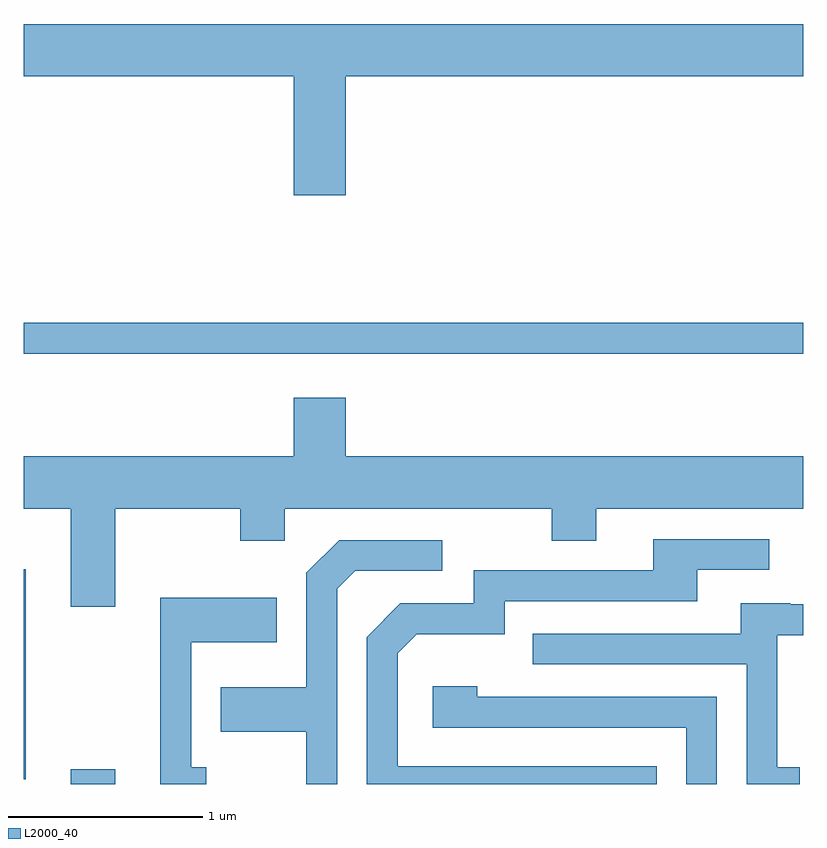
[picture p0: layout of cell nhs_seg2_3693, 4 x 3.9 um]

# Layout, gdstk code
import gdstk
lib = gdstk.Library(unit=1e-6, precision=1e-09)
def R(c, l, rs):  # rectangles x0, y0, x1, y1
    for r in rs: c.add(gdstk.rectangle(r[:2], r[2:], *l))
def P(c, l, *ps):  # polygons
    for p in ps: c.add(gdstk.Polygon(p, *l))
L2000_40 = (2000, 40)

nhs_seg2_3693 = lib.new_cell('nhs_seg2_3693')
R(nhs_seg2_3693, L2000_40, [(293.851,1035.802,294.079,1035.879), (293.611,1035.826,293.619,1036.904), (293.611,1038.011,297.611,1038.169)])
P(nhs_seg2_3693, L2000_40, [(295.264,1039.436),(297.611,1039.436),(297.611,1039.704),(293.611,1039.704),(293.611,1039.436),(294.996,1039.436),(294.996,1038.826),(295.264,1038.826)],
  [(294.079,1037.216),(294.721,1037.216),(294.721,1037.051),(294.949,1037.051),(294.949,1037.216),(296.321,1037.216),(296.321,1037.051),(296.549,1037.051),(296.549,1037.216),(297.611,1037.216),(297.611,1037.484),(295.264,1037.484),(295.264,1037.784),(294.996,1037.784),(294.996,1037.484),(293.611,1037.484),(293.611,1037.216),(293.851,1037.216),(293.851,1036.711),(294.079,1036.711)],
  [(296.859,1035.894),(295.529,1035.894),(295.529,1036.474),(295.627,1036.571),(296.079,1036.571),(296.079,1036.741),(297.069,1036.741),(297.069,1036.901),(297.438,1036.901),(297.438,1037.059),(296.841,1037.059),(296.841,1036.899),(295.921,1036.899),(295.921,1036.729),(295.544,1036.729),(295.371,1036.556),(295.371,1035.802),(296.859,1035.802)],
  [(295.219,1036.804),(295.312,1036.896),(295.758,1036.896),(295.758,1037.054),(295.229,1037.054),(295.061,1036.887),(295.061,1036.299),(294.621,1036.299),(294.621,1036.071),(295.061,1036.071),(295.061,1035.802),(295.219,1035.802)],
  [(294.548,1035.889),(294.469,1035.889),(294.469,1036.531),(294.909,1036.531),(294.909,1036.759),(294.311,1036.759),(294.311,1035.802),(294.548,1035.802)],
  [(297.593,1035.889),(297.479,1035.889),(297.479,1036.566),(297.611,1036.566),(297.611,1036.724),(297.545,1036.724),(297.545,1036.729),(297.291,1036.729),(297.291,1036.574),(296.223,1036.574),(296.223,1036.416),(297.321,1036.416),(297.321,1035.802),(297.593,1035.802)],
  [(297.169,1036.249),(295.939,1036.249),(295.939,1036.304),(295.711,1036.304),(295.711,1036.091),(297.011,1036.091),(297.011,1035.802),(297.169,1035.802)])

lib.write_gds('nhs_seg2_3693.gds')
